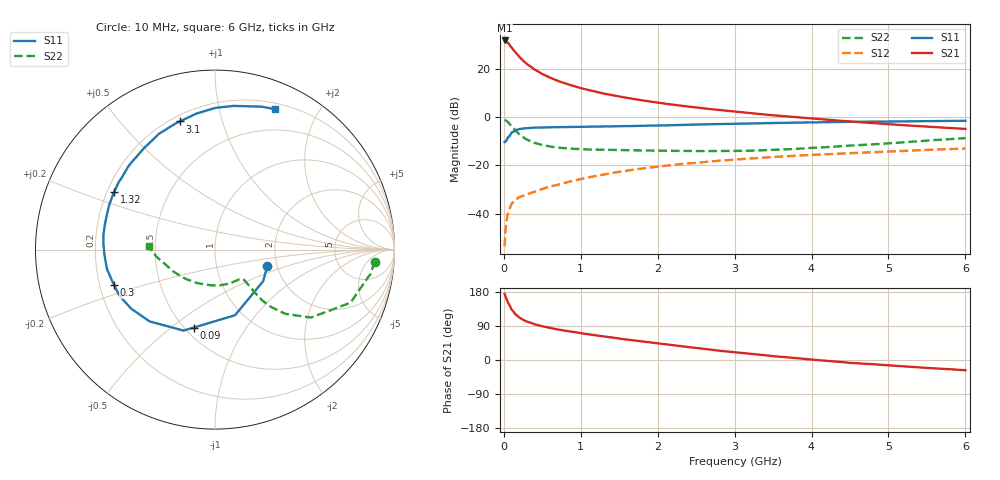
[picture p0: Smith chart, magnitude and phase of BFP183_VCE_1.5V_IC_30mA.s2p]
! Infineon Technologies  Discrete & RF Semiconductors
! BFP183
! VCE = 1.5 V,  IC =  30 mA
! Common Emitter S-Parameters:  Jan 2016
# GHz  S  MA  R  50
!  f  S11  S21  S12  S22
! GHz  MAG  ANG  MAG  ANG  MAG  ANG  MAG  ANG
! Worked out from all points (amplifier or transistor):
!   210 points, 10 MHz to 6 GHz, reference 50 ohm
!   highest |S21| = 32.0 dB at 10 MHz (marker M1)
!   |S21| within 3 dB of that: start of sweep to 102.7 MHz
!   unconditionally stable (mu >= 1): start of sweep to 11.68 MHz; 425.8 MHz to end of sweep
!   at 185 MHz: K = 0.60, MSG = 29.6 dB, |S12| = -33.5 dB
!   at 1.52 GHz: K = 1.35, MAG = 12.0 dB, |S12| = -22.5 dB
!   at 6 GHz: K = 1.07, MAG = 2.5 dB, |S12| = -13.0 dB
!   S11 on the Smith chart (normalised r, x): 10 MHz: 1.78, -0.36; 90 MHz: 0.55, -0.60; 300 MHz: 0.26, -0.16; 1.32 GHz: 0.23, +0.25; 3.1 GHz: 0.23, +0.74; 6 GHz: 0.26, +1.48
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0.01  0.3056 -17.3  39.73 174.3  0.0021 74.5  0.8931 -4.3
0.02  0.3209 -33.3  39.46 168.7  0.0042 80.1  0.8766 -8.9
0.05  0.3824 -73.0  36.16 152.8  0.0097 70.8  0.8106 -21.4
0.09  0.4498 -105.2  29.71 138.0  0.0146 56.5  0.6829 -32.0
0.1  0.484 -111.2  28.49 133.4  0.0159 54.3  0.6555 -35.3
0.15  0.5411 -132.3  22.48 120.5  0.0194 49.6  0.5308 -42.4
0.2  0.5715 -144.9  18.19 112.1  0.0219 48.8  0.4459 -45.7
0.24  0.5858 -152.3  15.68 107.3  0.023 48.3  0.3987 -46.8
0.26  0.5914 -155.4  14.62 105.1  0.0237 48.1  0.3785 -47.1
0.3  0.5964 -160.6  12.83 101.3  0.0252 47.9  0.345 -47.2
0.4  0.6117 -169.9  9.877 94.2  0.0285 51.1  0.2941 -46.8
0.5  0.6164 -177.0  7.953 89.0  0.0325 51.3  0.2657 -46.4
0.6  0.622 177.3  6.712 84.5  0.0364 53.3  0.2476 -46.0
0.7  0.627 172.3  5.729 80.6  0.0397 54.8  0.2354 -46.1
0.8  0.6286 168.6  5.058 77.1  0.0438 56.2  0.2281 -46.6
1.02  0.6355 159.9  3.981 70.2  0.053 57.2  0.2176 -48.8
1.32  0.6475 150.2  3.078 61.6  0.0661 56.6  0.2111 -53.7
2.02  0.6771 130.3  1.998 43.2  0.0955 52.2  0.2037 -69.9
3.1  0.7404 105.3  1.272 18.6  0.1362 42.2  0.2013 -104.8
4.1  0.7923 88.3  0.921 -0.6  0.1688 32.6  0.2359 -138.9
5.1  0.8227 75.9  0.703 -15.3  0.1976 24.1  0.2956 -165.4
6  0.8501 67.0  0.575 -27.0  0.2245 15.2  0.3698 177.2
